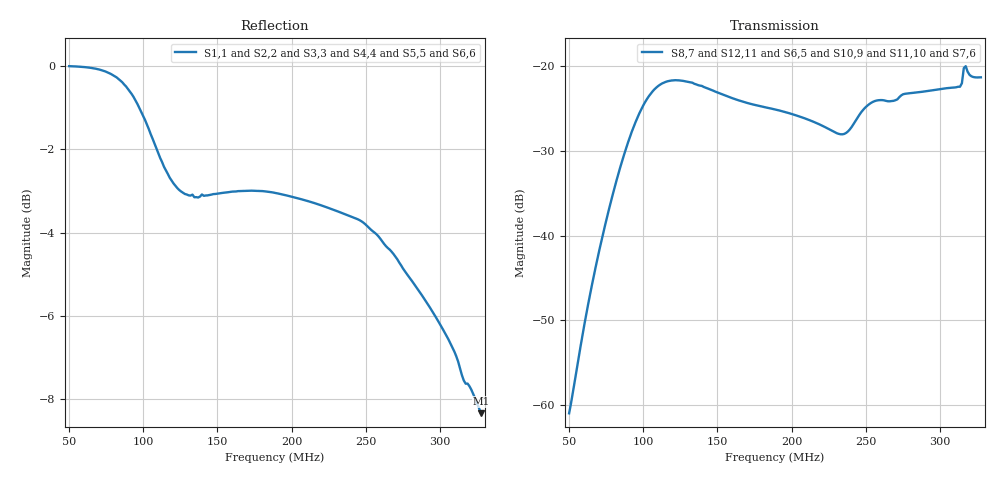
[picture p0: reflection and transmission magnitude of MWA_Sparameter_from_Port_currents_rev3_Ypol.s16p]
# Hz S RI R 100
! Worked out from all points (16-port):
!   218 points, 49.92 MHz to 327.7 MHz, reference 100 ohm
!   strongest paths, dB at 49.92 MHz, 119 MHz, 189.4 MHz, 258.6 MHz, 327.7 MHz:
!     S8,7: -61.0, -21.7, -25.1, -24.0, -21.3
!     S12,11: -61.0, -21.7, -25.1, -24.0, -21.3
!     S6,5: -61.0, -21.7, -25.1, -24.0, -21.3
!     S10,9: -61.0, -21.7, -25.1, -24.0, -21.3
!     S11,10: -61.0, -21.5, -25.1, -24.0, -21.5
!     S7,6: -61.0, -21.5, -25.1, -24.0, -21.5
!   lowest |S11| = -8.3 dB at 327.7 MHz (marker M1), VSWR 2.24, Z = 156 - j87.2 ohm
!   |S11| at or under -10 dB: nowhere
